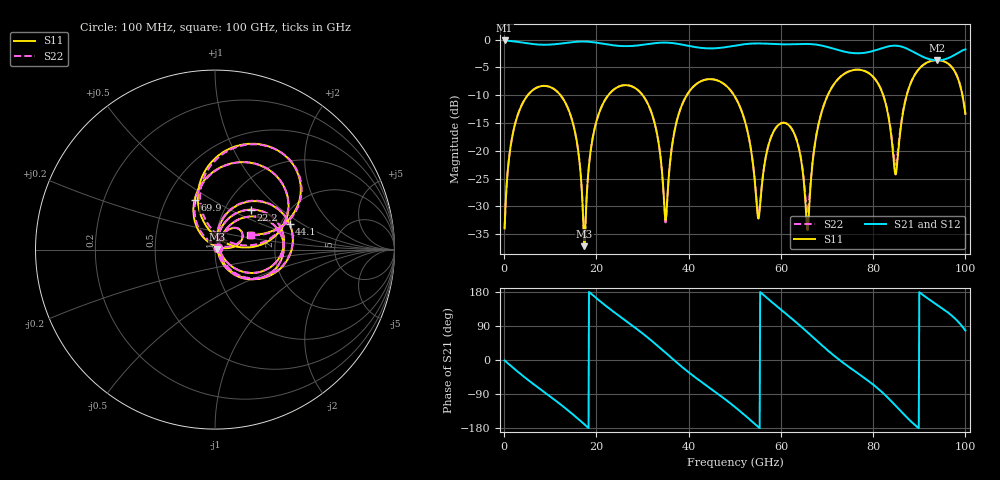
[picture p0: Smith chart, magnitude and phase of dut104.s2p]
! Touchstone file exported from HFSS 2026.1.0
!  File:  C:/ffzhzh/LocalFiles/Ansys_Project_Files/temp_train_TSV_RDL_104_1783633865_26216.aedt
!  Generated:  05:59:39 AM Jul 10, 2026
!  Design:  TSV_RDL
!  Project:  temp_train_TSV_RDL_104_1783633865_26216
! Variables:
!  h_bsmrdl = 2.52um
!  h_ox = 20um
!  h_rdl = 5um
!  h_sub = 72.2um
!  h_tmrdl = 2.12um
!  h_tsv = 72.2um
!  h_via = 3um
!  l_bsmrdl = 647.45um
!  l_sub = 3168.98um
!  l_tmrdl = 173.29um
!  m_sub = 200um
!  pitch = 45.82um
!  r_tsv = 13.2um
!  s_tmrdl = 10um
!  w_bsmrdl = 28.02um
!  w_sub = 500um
!  w_tmrdl = 16.47um
!  x_tsv_center1 = 181.525um
!  x_tsv_center2 = 856.995um
!  x_tsv_center3 = 1046.755um
!  x_tsv_center4 = 1722.225um
!  x_tsv_center5 = 1911.985um
!  x_tsv_center6 = 2587.455um
# GHz S MA R 50.000000
! Terminal data exported
! Port[1] = TM_RDL1_1_T1
! Port[2] = TM_RDL5_1_T1
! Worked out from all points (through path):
!   1000 points, 100 MHz to 100 GHz, reference 50 ohm
!   highest |S21| = -0.16 dB at 100 MHz (marker M1); lowest = -3.7 dB at 93.9 GHz (marker M2)
!   group delay of S21, straight-line fit = 27.6 ps
!   lowest |S11| = -37.1 dB at 17.4 GHz (marker M3), VSWR 1.03, Z = 51.4 + j0.15 ohm
!   |S11| at or under -10 dB: 12.22 GHz to 22.57 GHz (10.35 GHz wide, 59.5 % of centre); 30.03 GHz to 39.59 GHz (9.562 GHz wide, 27.5 % of centre); 49.83 GHz to 70.17 GHz (20.34 GHz wide, 33.9 % of centre) (the widest 3 of 6)
!   |S22| runs from -36.9 to -3.7 dB; largest |S21 - S12| = 1e-11
!   S11 on the Smith chart (normalised r, x): 100 MHz: 1.04, +0.02; 22.2 GHz: 1.33, +0.65; 44.1 GHz: 2.24, +0.78; 69.9 GHz: 0.69, +0.42; 100 GHz: 1.47, +0.26
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0.1  0.02004 25.4  0.982 -1.1  0.982 -1.1  0.02004 25.4
! Gamma 0 0 0 0
! Port Impedance 50 0 50 0
2.5  0.1826 55.9  0.9585 -26.3  0.9585 -26.3  0.1826 56.0
7.7  0.3786 11.3  0.9008 -75.8  0.9008 -75.8  0.3786 11.4
14  0.232 -44.2  0.9409 -134.5  0.9409 -134.5  0.2319 -44.0
16.8  0.04701 -58.7  0.9601 -163.5  0.9601 -163.5  0.04706 -58.1
17.4  0.01389 6.0  0.9597 -169.8  0.9597 -169.8  0.01434 6.6
22.2  0.301 47.8  0.9067 141.4  0.9067 141.4  0.3011 47.8
33.4  0.1243 -45.4  0.9344 36.0  0.9344 36.0  0.1241 -45.5
35  0.02372 16.2  0.9388 19.0  0.9388 19.0  0.02265 16.6
38  0.2238 70.3  0.9103 -12.6  0.9103 -12.6  0.2238 71.1
44.1  0.4395 18.8  0.834 -69.6  0.834 -69.6  0.4396 19.5
50.1  0.3031 -32.0  0.8829 -124.6  0.8829 -124.6  0.3034 -30.9
55.1  0.02456 0.5  0.9233 -176.6  0.9233 -176.6  0.0268 1.4
59.7  0.1738 41.9  0.9074 136.1  0.9074 136.1  0.174 42.9
65.7  0.01985 56.3  0.9139 74.0  0.9139 74.0  0.02785 61.2
66.7  0.06637 132.5  0.9097 63.0  0.9097 63.0  0.06978 125.9
69.9  0.2984 112.5  0.8622 28.1  0.8622 28.1  0.2995 111.0
83.4  0.1945 3.8  0.87 -102.0  0.87 -102.0  0.1985 6.9
84.9  0.06133 61.4  0.8815 -121.1  0.8815 -121.1  0.07481 60.5
88.1  0.4013 101.0  0.7995 -161.0  0.7995 -161.0  0.4034 99.0
93.9  0.6542 55.6  0.6509 145.4  0.6509 145.4  0.6546 54.8
100  0.2147 22.9  0.8161 77.8  0.8161 77.8  0.2137 22.1
